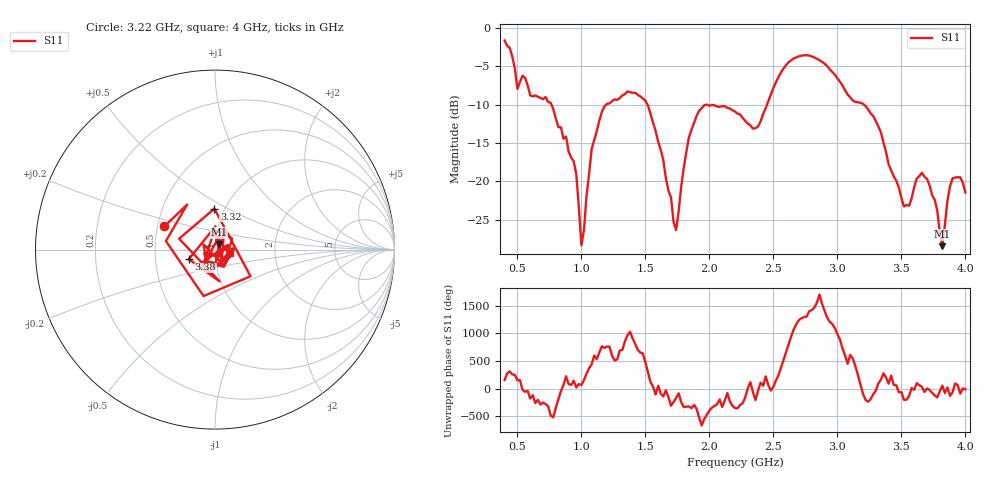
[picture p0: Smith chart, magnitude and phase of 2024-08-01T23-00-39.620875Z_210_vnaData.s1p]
!Created with skrf (http://scikit-rf.org).
# Hz S RI R 50.0
!freq ReS11 ImS11
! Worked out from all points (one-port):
!   181 points, 400 MHz to 4 GHz, reference 50 ohm
!   lowest |S11| = -28.5 dB at 3.82 GHz (marker M1), VSWR 1.08, Z = 52.3 + j3.13 ohm
!   |S11| at or under -10 dB: 1.517 GHz to 1.975 GHz (458.5 MHz wide, 26.3 % of centre); 1.983 GHz to 2.45 GHz (466.8 MHz wide, 21.1 % of centre); 3.208 GHz to end of sweep (the widest 3 of 4)
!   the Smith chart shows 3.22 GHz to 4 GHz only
!   S11 on the Smith chart (normalised r, x): 3.22 GHz: 0.54, +0.16; 3.32 GHz: 0.90, +0.43; 3.38 GHz: 0.74, -0.08; 4 GHz: 1.18, -0.05
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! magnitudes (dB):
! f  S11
! 400 MHz  -1.6
! 500 MHz  -7.9
! 720 MHz  -9.0
! 860 MHz  -14.4
! 960 MHz  -19.1
! 1 GHz  -28.4
! 1.08 GHz  -15.8
! 1.18 GHz  -10.2
! 1.3 GHz  -9.1
! 1.52 GHz  -10.1
! 1.72 GHz  -25.3
! 1.76 GHz  -23.9
! 1.84 GHz  -14.3
! 1.92 GHz  -10.8
! 2.2 GHz  -10.9
! 2.38 GHz  -12.8
! 2.66 GHz  -3.9
! 2.9 GHz  -4.6
! 3.1 GHz  -9.0
! 3.22 GHz  -10.2
! 3.32 GHz  -12.8
! 3.38 GHz  -16.2
! 3.56 GHz  -23.2
! 3.62 GHz  -19.6
! 3.7 GHz  -19.7
! 3.82 GHz  -28.5
! 3.9 GHz  -19.6
! 4 GHz  -21.4
